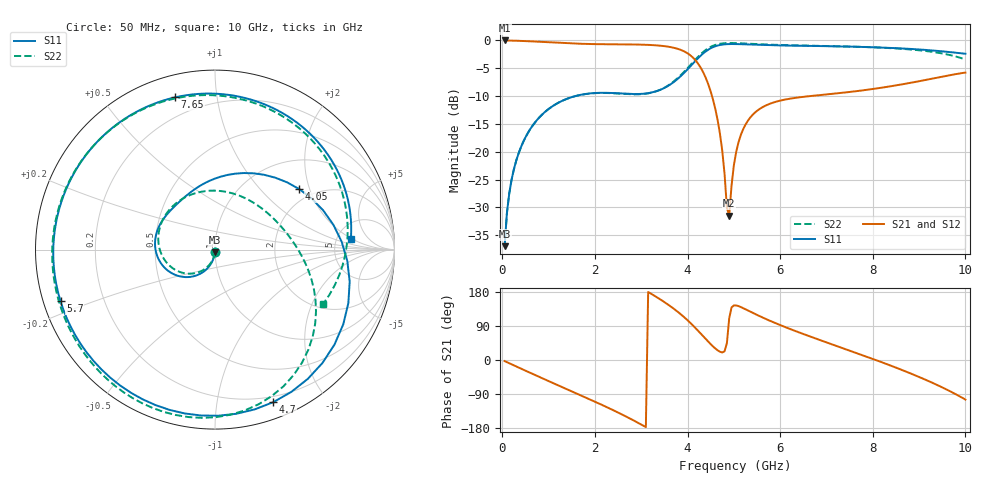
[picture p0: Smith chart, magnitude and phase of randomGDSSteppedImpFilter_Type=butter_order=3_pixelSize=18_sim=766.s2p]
! freq	dB(S11)	phase(S11)	dB(S12)	phase(S12)
!  dB(S21)	phase(S21)	dB(S22)	phase(S22)
!S-par simulation data
#  GHz  S  DB  R 50
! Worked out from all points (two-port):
!   200 points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, 50 MHz to 10 GHz, reference 50 ohm
!   highest |S21| = -0.01 dB at 50 MHz (marker M1); lowest = -31.5 dB at 4.9 GHz (marker M2)
!   |S21| within 3 dB of the highest: start of sweep to 4.106 GHz
!   lowest |S11| = -37.0 dB at 50 MHz (marker M3), VSWR 1.03, Z = 49.9 - j1.41 ohm
!   |S11| at or under -10 dB: start of sweep to 1.576 GHz
!   |S22| runs from -37.0 to -0.5 dB; largest |S21 - S12| = 0
!   S11 on the Smith chart (normalised r, x): 50 MHz: 1.00, -0.03; 4.05 GHz: 1.69, +1.71; 4.7 GHz: 0.15, -1.44; 5.7 GHz: 0.05, -0.16; 7.65 GHz: 0.10, +0.77; 10 GHz: 6.78, +1.86
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0.05  -36.97 -92.4  -0.01 -2.9  -0.01 -2.9  -36.96 -92.8
0.2  -25.05 -100.7  -0.03 -11.3  -0.03 -11.3  -25.06 -102.4
0.5  -17.42 -116.5  -0.12 -28.1  -0.12 -28.1  -17.43 -120.8
1.15  -11.47 -148.9  -0.40 -63.8  -0.40 -63.8  -11.48 -159.8
1.75  -9.68 -176.8  -0.61 -96.2  -0.61 -96.2  -9.70 163.3
2.25  -9.41 161.4  -0.69 -124.0  -0.69 -124.0  -9.45 129.5
2.75  -9.61 140.5  -0.72 -154.0  -0.72 -154.0  -9.67 90.6
3.4  -8.91 106.5  -0.94 160.8  -0.94 160.8  -8.90 33.5
3.8  -6.82 69.3  -1.54 126.1  -1.54 126.1  -6.66 -0.3
4.05  -4.76 35.6  -2.61 99.2  -2.61 99.2  -4.52 -21.9
4.4  -1.93 -21.8  -6.85 54.5  -6.85 54.5  -1.67 -57.9
4.7  -0.82 -69.1  -16.75 21.7  -16.75 21.7  -0.60 -89.6
4.85  -0.67 -88.8  -30.06 44.6  -30.06 44.6  -0.47 -103.4
4.9  -0.65 -94.8  -31.49 110.1  -31.49 110.1  -0.46 -107.6
5.05  -0.65 -111.0  -20.05 144.0  -20.05 144.0  -0.48 -119.1
5.3  -0.73 -133.4  -14.47 130.9  -14.47 130.9  -0.59 -135.7
5.7  -0.84 -161.5  -11.65 107.8  -11.65 107.8  -0.74 -157.8
6.7  -0.99 146.5  -9.95 59.7  -9.95 59.7  -0.94 157.0
7.65  -1.14 104.6  -9.11 18.4  -9.11 18.4  -1.12 116.4
8.35  -1.33 74.5  -8.29 -13.0  -8.29 -13.0  -1.37 84.2
9.35  -1.84 31.1  -6.76 -63.6  -6.76 -63.6  -2.13 27.6
10  -2.39 4.4  -5.78 -104.4  -5.78 -104.4  -3.43 -26.8
